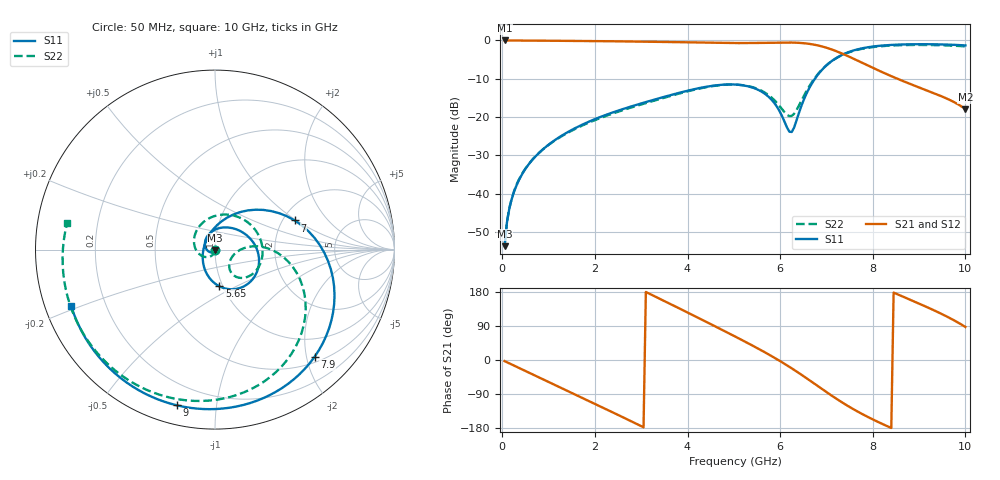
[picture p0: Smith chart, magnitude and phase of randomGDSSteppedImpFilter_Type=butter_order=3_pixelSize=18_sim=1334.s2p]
! freq	dB(S11)	phase(S11)	dB(S12)	phase(S12)
!  dB(S21)	phase(S21)	dB(S22)	phase(S22)
!S-par simulation data
#  GHz  S  DB  R 50
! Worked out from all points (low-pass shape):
!   200 points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, 50 MHz to 10 GHz, reference 50 ohm
!   highest |S21| = -0.01 dB at 50 MHz (marker M1); lowest = -17.9 dB at 10 GHz (marker M2)
!   |S21| within 3 dB of the highest: start of sweep to 7.255 GHz
!   lowest |S11| = -53.7 dB at 50 MHz (marker M3), VSWR 1.00, Z = 50 - j0.206 ohm
!   |S11| at or under -10 dB: start of sweep to 6.75 GHz
!   |S22| runs from -53.5 to -1.2 dB; largest |S21 - S12| = 0
!   S11 on the Smith chart (normalised r, x): 50 MHz: 1.00, -0.00; 5.65 GHz: 0.96, -0.41; 7 GHz: 2.32, +0.97; 7.9 GHz: 0.60, -2.15; 9 GHz: 0.09, -0.78; 10 GHz: 0.08, -0.19
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0.05  -53.65 -83.4  -0.01 -2.9  -0.01 -2.9  -53.54 -80.3
0.1  -47.48 -92.3  -0.01 -5.8  -0.01 -5.8  -47.35 -86.1
0.2  -41.51 -104.1  -0.02 -11.6  -0.02 -11.6  -41.36 -92.5
0.45  -34.43 -128.4  -0.04 -26.0  -0.04 -26.0  -34.32 -102.9
1.15  -25.87 172.1  -0.09 -66.3  -0.09 -66.3  -25.97 -127.8
1.75  -21.84 126.8  -0.15 -101.1  -0.15 -101.1  -22.07 -152.4
2.15  -19.81 100.1  -0.19 -124.4  -0.19 -124.4  -20.08 -172.1
2.65  -17.72 71.0  -0.26 -153.8  -0.26 -153.8  -18.00 158.6
3.4  -15.04 34.7  -0.38 161.6  -0.38 161.6  -15.28 106.0
4.25  -12.44 -3.1  -0.56 110.0  -0.56 110.0  -12.57 42.1
4.65  -11.66 -22.5  -0.65 85.5  -0.65 85.5  -11.74 13.4
5.05  -11.52 -43.9  -0.69 60.6  -0.69 60.6  -11.52 -13.6
5.65  -13.74 -83.3  -0.62 21.7  -0.62 21.7  -13.46 -48.0
6.25  -23.87 153.5  -0.55 -22.0  -0.55 -22.0  -19.68 -22.6
6.7  -10.93 50.2  -1.03 -59.1  -1.03 -59.1  -10.62 1.4
7  -6.50 20.1  -1.90 -84.7  -1.90 -84.7  -6.48 -16.0
7.45  -3.17 -17.2  -4.02 -120.4  -4.02 -120.4  -3.25 -47.2
7.9  -1.77 -47.2  -6.57 -150.7  -6.57 -150.7  -1.90 -75.7
8.35  -1.21 -72.0  -9.05 -176.7  -9.05 -176.7  -1.36 -100.6
9  -0.98 -103.8  -12.26 148.7  -12.26 148.7  -1.17 -133.6
9.5  -1.05 -128.7  -14.64 120.8  -14.64 120.8  -1.27 -159.8
10  -1.30 -158.4  -17.92 87.2  -17.92 87.2  -1.55 169.8
